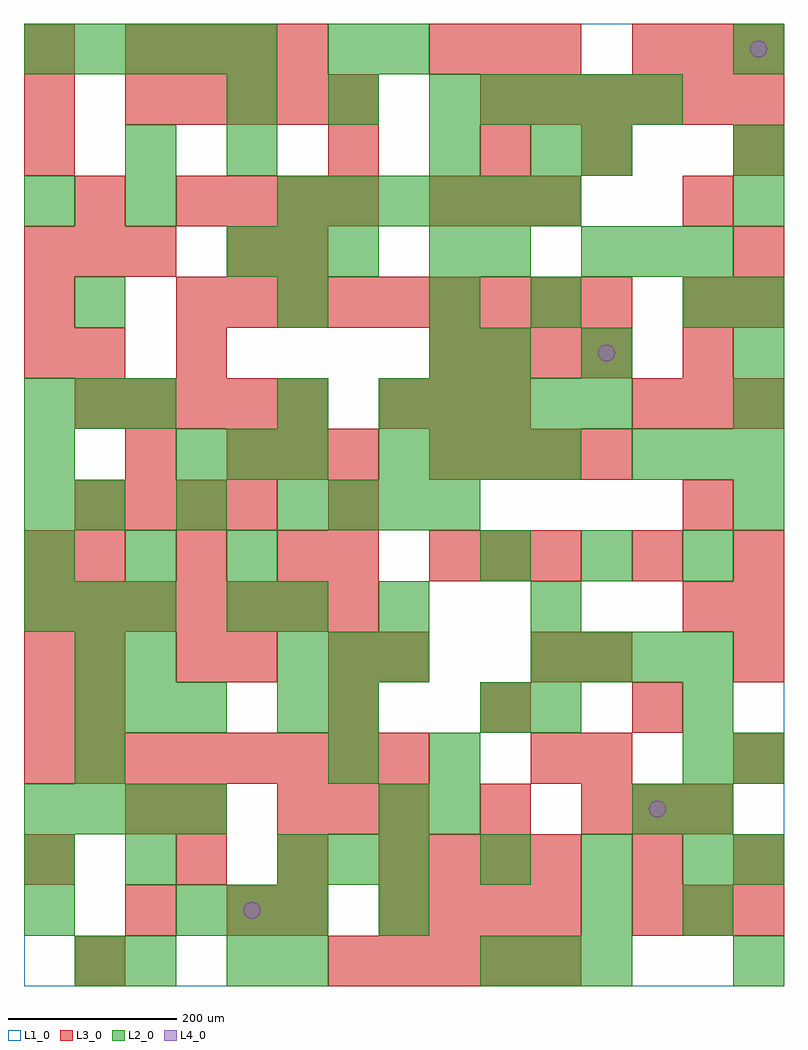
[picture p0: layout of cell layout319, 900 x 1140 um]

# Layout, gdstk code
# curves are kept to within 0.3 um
import gdstk
lib = gdstk.Library(unit=1e-6, precision=1e-09)
def R(c, l, rs):  # rectangles x0, y0, x1, y1
    for r in rs: c.add(gdstk.rectangle(r[:2], r[2:], *l))
def A(c, l, x, y, w, h, nx, ny, dx, dy):  # array of equal rectangles
    R(c, l, [(x+i*dx, y+j*dy, x+i*dx+w, y+j*dy+h) for i in range(nx) for j in range(ny)])
def P(c, l, *ps):  # polygons
    for p in ps: c.add(gdstk.Polygon(p, *l))
L1_0 = (1, 0)
L2_0 = (2, 0)
L3_0 = (3, 0)
L4_0 = (4, 0)

layout319 = lib.new_cell('layout319')
R(layout319, L1_0, [(0,0,900,1140)])
A(layout319, L2_0, 540, 0, 60, 60, 3, 1, 60, 0)
A(layout319, L2_0, 840, 0, 60, 60, 1, 3, 0, 120)
A(layout319, L2_0, 180, 60, 60, 60, 3, 2, 60, 540)
A(layout319, L2_0, 300, 120, 60, 60, 3, 2, 60, 240)
A(layout319, L2_0, 540, 120, 60, 60, 3, 2, 120, 360)
A(layout319, L2_0, 0, 180, 60, 60, 4, 1, 60, 0)
A(layout319, L2_0, 780, 180, 60, 60, 1, 3, 0, 60)
A(layout319, L2_0, 60, 300, 60, 60, 3, 1, 60, 0)
A(layout319, L2_0, 600, 360, 60, 60, 4, 1, 60, 0)
A(layout319, L2_0, 0, 420, 60, 60, 3, 2, 60, 240)
A(layout319, L2_0, 0, 480, 60, 60, 3, 1, 120, 0)
A(layout319, L2_0, 60, 540, 60, 60, 3, 1, 120, 0)
A(layout319, L2_0, 360, 540, 60, 60, 3, 1, 60, 0)
A(layout319, L2_0, 420, 600, 60, 60, 4, 1, 60, 0)
A(layout319, L2_0, 720, 600, 60, 60, 3, 1, 60, 0)
A(layout319, L2_0, 420, 660, 60, 60, 5, 1, 60, 0)
A(layout319, L2_0, 840, 660, 60, 60, 1, 3, 0, 60)
A(layout319, L2_0, 480, 720, 60, 60, 1, 3, 0, 60)
A(layout319, L2_0, 240, 840, 60, 60, 3, 1, 60, 0)
A(layout319, L2_0, 660, 840, 60, 60, 3, 1, 60, 0)
A(layout319, L2_0, 300, 900, 60, 60, 6, 1, 60, 0)
A(layout319, L2_0, 240, 1020, 60, 60, 3, 1, 120, 0)
A(layout319, L2_0, 540, 1020, 60, 60, 4, 1, 60, 0)
A(layout319, L2_0, 0, 1080, 60, 60, 5, 1, 60, 0)
R(layout319, L2_0, [(60,0,120,60), (120,0,180,60), (240,0,300,60), (300,0,360,60), (0,60,60,120), (420,60,480,120), (660,60,720,120), (780,60,840,120), (0,120,60,180), (120,120,180,180), (420,180,480,240), (480,180,540,240), (720,180,780,240), (60,240,120,300), (360,240,420,300), (480,240,540,300), (300,300,360,360), (360,300,420,360), (540,300,600,360), (600,300,660,360), (60,360,120,420), (120,360,180,420), (240,420,300,480), (300,420,360,480), (420,420,480,480), (600,420,660,480), (0,540,60,600), (840,540,900,600), (0,600,60,660), (300,660,360,720), (540,720,600,780), (660,720,720,780), (60,780,120,840), (300,780,360,840), (600,780,660,840), (780,780,840,840), (540,840,600,900), (0,900,60,960), (120,900,180,960), (840,900,900,960), (120,960,180,1020), (240,960,300,1020), (480,960,540,1020), (600,960,660,1020), (660,960,720,1020), (840,960,900,1020), (360,1080,420,1140), (420,1080,480,1140), (840,1080,900,1140)])
A(layout319, L3_0, 360, 0, 60, 60, 5, 1, 60, 0)
A(layout319, L3_0, 420, 60, 60, 60, 4, 1, 60, 0)
A(layout319, L3_0, 720, 60, 60, 60, 3, 2, 60, 600)
A(layout319, L3_0, 180, 120, 60, 60, 3, 1, 120, 0)
A(layout319, L3_0, 480, 120, 60, 60, 3, 2, 60, 360)
A(layout319, L3_0, 840, 120, 60, 60, 1, 3, 0, 120)
A(layout319, L3_0, 300, 180, 60, 60, 3, 1, 60, 0)
A(layout319, L3_0, 660, 180, 60, 60, 3, 1, 60, 0)
A(layout319, L3_0, 0, 240, 60, 60, 8, 1, 60, 0)
A(layout319, L3_0, 360, 300, 60, 60, 3, 1, 180, 0)
A(layout319, L3_0, 0, 420, 60, 60, 7, 1, 60, 0)
A(layout319, L3_0, 60, 480, 60, 60, 3, 1, 120, 0)
A(layout319, L3_0, 60, 540, 60, 60, 4, 1, 60, 0)
A(layout319, L3_0, 240, 600, 60, 60, 3, 1, 60, 0)
A(layout319, L3_0, 480, 600, 60, 60, 4, 2, 60, 120)
A(layout319, L3_0, 60, 660, 60, 60, 5, 1, 60, 0)
A(layout319, L3_0, 420, 660, 60, 60, 3, 1, 60, 0)
A(layout319, L3_0, 180, 780, 60, 60, 9, 1, 60, 0)
A(layout319, L3_0, 0, 840, 60, 60, 3, 1, 60, 0)
A(layout319, L3_0, 180, 900, 60, 60, 4, 1, 60, 0)
A(layout319, L3_0, 480, 900, 60, 60, 3, 2, 60, 180)
A(layout319, L3_0, 0, 960, 60, 60, 1, 3, 0, 60)
A(layout319, L3_0, 120, 1020, 60, 60, 5, 1, 60, 0)
A(layout319, L3_0, 540, 1020, 60, 60, 6, 1, 60, 0)
A(layout319, L3_0, 120, 1080, 60, 60, 4, 1, 60, 0)
A(layout319, L3_0, 720, 1080, 60, 60, 3, 1, 60, 0)
R(layout319, L3_0, [(60,0,120,60), (120,60,180,120), (240,60,300,120), (300,60,360,120), (0,120,60,180), (720,120,780,180), (120,180,180,240), (180,180,240,240), (540,180,600,240), (600,240,660,300), (660,240,720,300), (0,300,60,360), (60,300,120,360), (0,360,60,420), (60,360,120,420), (180,360,240,420), (240,360,300,420), (360,360,420,420), (420,360,480,420), (600,360,660,420), (660,360,720,420), (780,420,840,480), (840,420,900,480), (0,480,60,540), (360,480,420,540), (720,480,780,540), (840,480,900,540), (360,540,420,600), (780,540,840,600), (120,600,180,660), (0,720,60,780), (60,720,120,780), (180,720,240,780), (780,720,840,780), (0,780,60,840), (780,780,840,840), (840,780,900,840), (240,840,300,900), (300,840,360,900), (840,840,900,900), (60,900,120,960), (780,900,840,960), (360,960,420,1020), (540,960,600,1020), (660,960,720,1020), (840,960,900,1020)])
P(layout319, L4_0, [(280,90),(279.239,93.827),(277.071,97.071),(273.827,99.239),(270,100),(266.173,99.239),(262.929,97.071),(260.761,93.827),(260,90),(260.761,86.173),(262.929,82.929),(266.173,80.761),(270,80),(273.827,80.761),(277.071,82.929),(279.239,86.173)],
  [(700,750),(699.239,753.827),(697.071,757.071),(693.827,759.239),(690,760),(686.173,759.239),(682.929,757.071),(680.761,753.827),(680,750),(680.761,746.173),(682.929,742.929),(686.173,740.761),(690,740),(693.827,740.761),(697.071,742.929),(699.239,746.173)],
  [(760,210),(759.239,213.827),(757.071,217.071),(753.827,219.239),(750,220),(746.173,219.239),(742.929,217.071),(740.761,213.827),(740,210),(740.761,206.173),(742.929,202.929),(746.173,200.761),(750,200),(753.827,200.761),(757.071,202.929),(759.239,206.173)],
  [(880,1110),(879.239,1113.827),(877.071,1117.071),(873.827,1119.239),(870,1120),(866.173,1119.239),(862.929,1117.071),(860.761,1113.827),(860,1110),(860.761,1106.173),(862.929,1102.929),(866.173,1100.761),(870,1100),(873.827,1100.761),(877.071,1102.929),(879.239,1106.173)])

lib.write_gds('layout319.gds')
